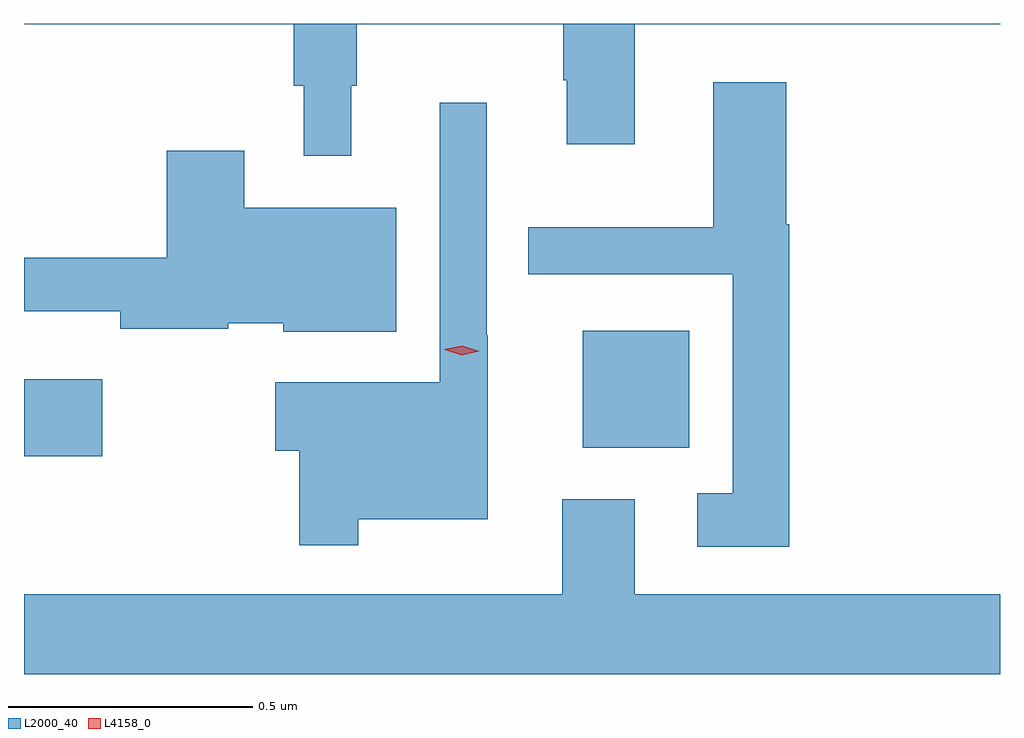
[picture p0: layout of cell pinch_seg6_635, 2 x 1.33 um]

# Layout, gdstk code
import gdstk
lib = gdstk.Library(unit=1e-6, precision=1e-09)
def R(c, l, rs):  # rectangles x0, y0, x1, y1
    for r in rs: c.add(gdstk.rectangle(r[:2], r[2:], *l))
def P(c, l, *ps):  # polygons
    for p in ps: c.add(gdstk.Polygon(p, *l))
L2000_40 = (2000, 40)
L4158_0 = (4158, 0)

pinch_seg6_635 = lib.new_cell('pinch_seg6_635')
R(pinch_seg6_635, L2000_40, [(456.981,970.427,457.141,970.585), (458.126,970.445,458.344,970.684)])
P(pinch_seg6_635, L2000_40, [(456.981,971.312),(457.534,971.312),(457.534,971.186),(457.554,971.186),(457.554,971.043),(457.652,971.043),(457.652,971.186),(457.663,971.186),(457.663,971.312),(458.086,971.312),(458.086,971.198),(458.093,971.198),(458.093,971.067),(458.233,971.067),(458.233,971.312),(458.981,971.312),(458.981,971.314),(456.981,971.314)],
  [(458.549,970.903),(458.543,970.903),(458.543,971.194),(458.393,971.194),(458.393,970.897),(458.014,970.897),(458.014,970.8),(458.433,970.8),(458.433,970.351),(458.361,970.351),(458.361,970.242),(458.549,970.242)],
  [(457.666,970.298),(457.931,970.298),(457.931,970.675),(457.929,970.675),(457.929,971.152),(457.833,971.152),(457.833,970.579),(457.496,970.579),(457.496,970.438),(457.545,970.438),(457.545,970.245),(457.666,970.245)],
  [(457.744,970.936),(457.432,970.936),(457.432,971.053),(457.274,971.053),(457.274,970.834),(456.981,970.834),(456.981,970.724),(457.178,970.724),(457.178,970.688),(457.4,970.688),(457.4,970.7),(457.512,970.7),(457.512,970.682),(457.744,970.682)],
  [(458.981,970.144),(458.233,970.144),(458.233,970.339),(458.084,970.339),(458.084,970.144),(456.981,970.144),(456.981,969.98),(458.981,969.98)])
P(pinch_seg6_635, L4158_0, [(457.878,970.634),(457.843,970.645),(457.843,970.646),(457.843,970.646),(457.879,970.654),(457.914,970.642),(457.914,970.642),(457.914,970.642)])

lib.write_gds('pinch_seg6_635.gds')
